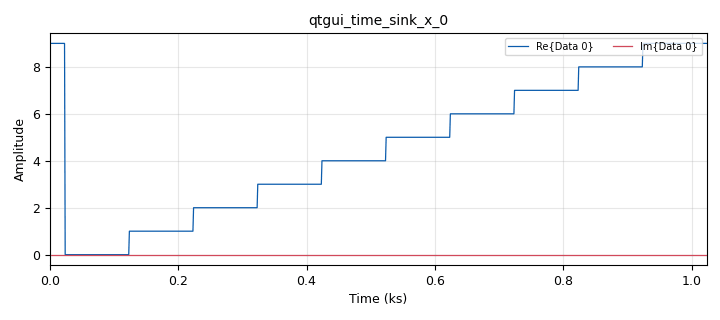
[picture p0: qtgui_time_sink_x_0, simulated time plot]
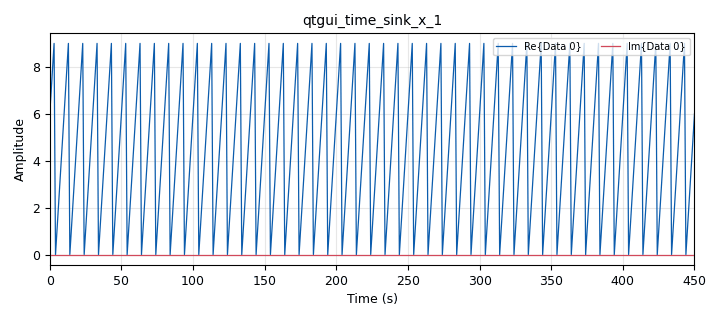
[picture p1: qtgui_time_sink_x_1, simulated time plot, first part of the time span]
<?xml version='1.0' encoding='utf-8'?>
<?grc format='1' created='3.7.10'?>
<flow_graph>
<block>
<key>options</key>
<param><key>id</key><value>tags_propagation</value></param>
<param><key>generate_options</key><value>qt_gui</value></param>
<param><key>title</key><value>tags_propagation</value></param>
</block>
<block>
<key>variable</key>
<param><key>id</key><value>samp_rate</value></param>
<param><key>value</key><value>32000</value></param>
</block>
<block>
<key>blocks_add_xx</key>
<param><key>id</key><value>blocks_add_xx_0</value></param>
<param><key>type</key><value>complex</value></param>
</block>
<block>
<key>blocks_repeat</key>
<param><key>id</key><value>blocks_repeat_0</value></param>
<param><key>interp</key><value>100</value></param>
<param><key>type</key><value>complex</value></param>
</block>
<block>
<key>blocks_tags_strobe</key>
<param><key>id</key><value>blocks_tags_strobe_0</value></param>
<param><key>key</key><value>pmt.intern("strobe")</value></param>
<param><key>nsamps</key><value>10</value></param>
<param><key>type</key><value>complex</value></param>
<param><key>value</key><value>pmt.intern("TEST")</value></param>
</block>
<block>
<key>blocks_throttle</key>
<param><key>id</key><value>blocks_throttle_0</value></param>
<param><key>samples_per_second</key><value>samp_rate</value></param>
<param><key>type</key><value>complex</value></param>
</block>
<block>
<key>blocks_vector_source_x</key>
<param><key>id</key><value>blocks_vector_source_x_0</value></param>
<param><key>type</key><value>complex</value></param>
<param><key>repeat</key><value>True</value></param>
<param><key>vector</key><value>range(10)</value></param>
</block>
<block>
<key>qtgui_time_sink_x</key>
<param><key>id</key><value>qtgui_time_sink_x_0</value></param>
<param><key>autoscale</key><value>True</value></param>
<param><key>color1</key><value>"blue"</value></param>
<param><key>label1</key><value></value></param>
<param><key>color2</key><value>"red"</value></param>
<param><key>label2</key><value></value></param>
<param><key>size</key><value>1024</value></param>
<param><key>srate</key><value>1</value></param>
<param><key>type</key><value>complex</value></param>
</block>
<block>
<key>qtgui_time_sink_x</key>
<param><key>id</key><value>qtgui_time_sink_x_1</value></param>
<param><key>autoscale</key><value>True</value></param>
<param><key>color1</key><value>"blue"</value></param>
<param><key>label1</key><value></value></param>
<param><key>color2</key><value>"red"</value></param>
<param><key>label2</key><value></value></param>
<param><key>size</key><value>1024</value></param>
<param><key>srate</key><value>1</value></param>
<param><key>type</key><value>complex</value></param>
</block>
<connection><source_block_id>blocks_add_xx_0</source_block_id><sink_block_id>blocks_throttle_0</sink_block_id><source_key>0</source_key><sink_key>0</sink_key></connection>
<connection><source_block_id>blocks_repeat_0</source_block_id><sink_block_id>qtgui_time_sink_x_0</sink_block_id><source_key>0</source_key><sink_key>0</sink_key></connection>
<connection><source_block_id>blocks_tags_strobe_0</source_block_id><sink_block_id>blocks_add_xx_0</sink_block_id><source_key>0</source_key><sink_key>1</sink_key></connection>
<connection><source_block_id>blocks_throttle_0</source_block_id><sink_block_id>blocks_repeat_0</sink_block_id><source_key>0</source_key><sink_key>0</sink_key></connection>
<connection><source_block_id>blocks_throttle_0</source_block_id><sink_block_id>qtgui_time_sink_x_1</sink_block_id><source_key>0</source_key><sink_key>0</sink_key></connection>
<connection><source_block_id>blocks_vector_source_x_0</source_block_id><sink_block_id>blocks_add_xx_0</sink_block_id><source_key>0</source_key><sink_key>0</sink_key></connection>
</flow_graph>
